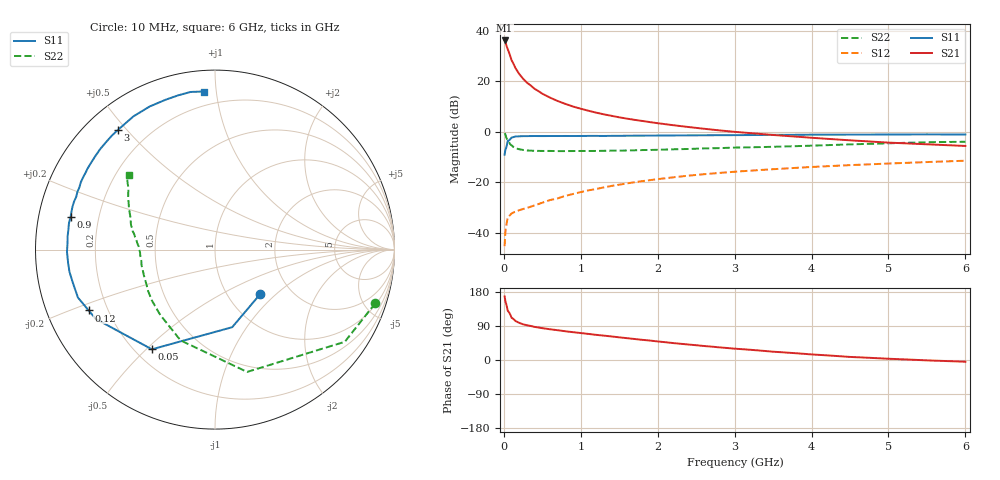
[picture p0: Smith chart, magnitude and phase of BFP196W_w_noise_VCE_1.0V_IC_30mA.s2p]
! (c) 2017  Infineon Technologies AG, Munich
! Infineon Technologies  Discrete & RF Semiconductors
! BFP196W
! VCE =  1.0 V,  IC =  30 mA
! Common Emitter S-Parameters:  Jan 2017
# GHz  S  MA  R  50
!  f  S11  S21  S12  S22
! GHz  MAG  ANG  MAG  ANG  MAG  ANG  MAG  ANG
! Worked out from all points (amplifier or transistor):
!   77 points, 10 MHz to 6 GHz, reference 50 ohm
!   highest |S21| = 36.1 dB at 10 MHz (marker M1)
!   |S21| within 3 dB of that: start of sweep to 44.95 MHz
!   unconditionally stable (mu >= 1): 761.4 MHz to 3.848 GHz
!   at 130 MHz: K = 0.34, MSG = 29.2 dB, |S12| = -31.8 dB
!   at 2.2 GHz: K = 1.06, MAG = 8.8 dB, |S12| = -18.0 dB
!   at 6 GHz: K = 0.99, MSG = 2.9 dB, |S12| = -11.4 dB
!   lowest NFmin = 1.13 dB at 450 MHz
!   S11 on the Smith chart (normalised r, x): 10 MHz: 1.41, -0.80; 50 MHz: 0.27, -0.52; 120 MHz: 0.13, -0.22; 900 MHz: 0.10, +0.11; 3 GHz: 0.09, +0.47; 6 GHz: 0.12, +0.93
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0.01  0.3534 -44.4  63.7 167.8  0.0055 79.0  0.9419 -18.5
0.02  0.4428 -77.5  59.25 155.2  0.0106 71.9  0.887 -35.4
0.05  0.6573 -122.3  42.97 130.2  0.0201 46.7  0.7046 -75.3
0.1  0.7687 -149.8  26.05 111.6  0.0243 35.3  0.541 -110.8
0.12  0.7814 -154.3  22.87 108.9  0.0252 34.6  0.508 -117.8
0.15  0.809 -160.7  18.23 103.1  0.0265 33.6  0.4751 -129.9
0.2  0.8136 -167.1  13.86 98.0  0.0282 33.9  0.4519 -141.0
0.25  0.8204 -171.4  11.19 94.2  0.0298 35.9  0.4382 -148.3
0.3  0.8216 -174.6  9.341 91.7  0.0313 38.6  0.4276 -153.6
0.4  0.8248 -179.1  7.06 87.3  0.0352 43.3  0.4212 -160.4
0.5  0.8225 177.5  5.656 84.0  0.0397 46.7  0.4181 -164.9
0.6  0.8245 174.7  4.731 81.1  0.0448 49.1  0.4185 -168.2
0.7  0.8244 172.2  4.052 78.6  0.0484 51.5  0.4152 -170.8
0.9  0.8251 167.3  3.153 73.4  0.0591 54.6  0.4163 -174.1
1.1  0.8294 163.2  2.604 68.8  0.0696 56.0  0.4178 -177.1
1.5  0.8314 155.4  1.93 59.8  0.0902 55.9  0.4244 178.2
2.1  0.8438 144.0  1.413 46.9  0.1209 52.9  0.4457 172.2
3  0.8586 129.0  0.998 29.9  0.1625 45.6  0.4873 163.8
3.1  0.8598 127.5  0.97 28.5  0.1664 44.7  0.4906 162.8
4.1  0.8762 113.3  0.744 13.5  0.2052 36.4  0.5378 153.2
5.1  0.8842 102.5  0.602 2.5  0.239 28.7  0.5981 144.0
6  0.8828 94.0  0.525 -4.6  0.2682 21.8  0.6353 139.3
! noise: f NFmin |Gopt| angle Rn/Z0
0.45  1.13  0.45  178  0.05
0.9  1.29  0.52  -176  0.06
1.9  2.14  0.68  -151  0.13
2.4  2.54  0.73  -146  0.22
